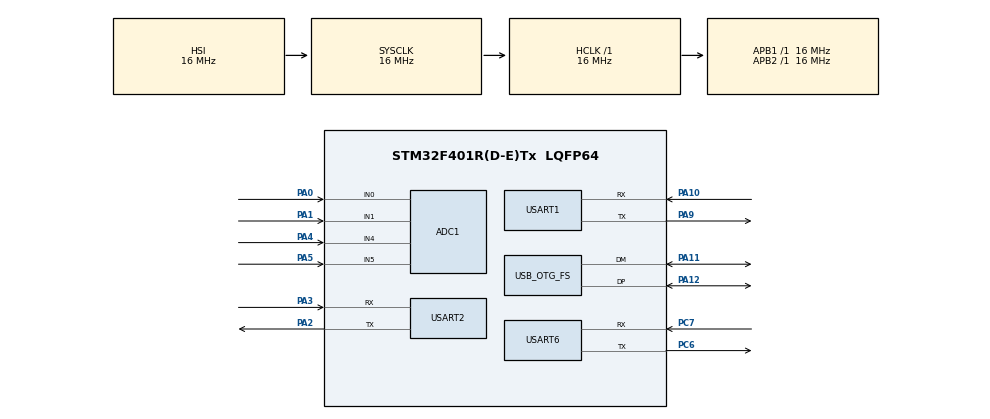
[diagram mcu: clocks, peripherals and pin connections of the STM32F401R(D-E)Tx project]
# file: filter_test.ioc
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ADC1.Channel-0\#ChannelRegularConversion=ADC_CHANNEL_0
ADC1.InjNumberOfConversion=0
ADC1.NbrOfConversionFlag=1
ADC1.Rank-0\#ChannelRegularConversion=1
ADC1.SamplingTime-0\#ChannelRegularConversion=ADC_SAMPLETIME_144CYCLES
ADC1.master=1
Dma.Request0=USART1_RX
Dma.Request1=USART2_RX
Dma.Request2=USART6_RX
Dma.Request3=USART2_TX
Dma.Request4=USART6_TX
Dma.Request5=USART1_TX
Dma.USART1_RX.0.Direction=DMA_PERIPH_TO_MEMORY
Dma.USART1_RX.0.FIFOMode=DMA_FIFOMODE_DISABLE
Dma.USART1_RX.0.Instance=DMA2_Stream2
Dma.USART1_RX.0.MemDataAlignment=DMA_MDATAALIGN_BYTE
Dma.USART1_RX.0.MemInc=DMA_MINC_ENABLE
Dma.USART1_RX.0.Mode=DMA_CIRCULAR
Dma.USART1_RX.0.PeriphDataAlignment=DMA_PDATAALIGN_BYTE
Dma.USART1_RX.0.PeriphInc=DMA_PINC_DISABLE
Dma.USART1_RX.0.Priority=DMA_PRIORITY_LOW
Dma.USART1_TX.5.Direction=DMA_MEMORY_TO_PERIPH
Dma.USART1_TX.5.FIFOMode=DMA_FIFOMODE_DISABLE
Dma.USART1_TX.5.Instance=DMA2_Stream7
Dma.USART1_TX.5.MemDataAlignment=DMA_MDATAALIGN_BYTE
Dma.USART1_TX.5.MemInc=DMA_MINC_ENABLE
Dma.USART1_TX.5.Mode=DMA_CIRCULAR
Dma.USART1_TX.5.PeriphDataAlignment=DMA_PDATAALIGN_BYTE
Dma.USART1_TX.5.PeriphInc=DMA_PINC_DISABLE
Dma.USART1_TX.5.Priority=DMA_PRIORITY_LOW
Dma.USART2_RX.1.Direction=DMA_PERIPH_TO_MEMORY
Dma.USART2_RX.1.FIFOMode=DMA_FIFOMODE_DISABLE
Dma.USART2_RX.1.Instance=DMA1_Stream5
Dma.USART2_RX.1.MemDataAlignment=DMA_MDATAALIGN_BYTE
Dma.USART2_RX.1.MemInc=DMA_MINC_ENABLE
Dma.USART2_RX.1.Mode=DMA_CIRCULAR
Dma.USART2_RX.1.PeriphDataAlignment=DMA_PDATAALIGN_BYTE
Dma.USART2_RX.1.PeriphInc=DMA_PINC_DISABLE
Dma.USART2_RX.1.Priority=DMA_PRIORITY_LOW
Dma.USART2_TX.3.Direction=DMA_MEMORY_TO_PERIPH
Dma.USART2_TX.3.FIFOMode=DMA_FIFOMODE_DISABLE
Dma.USART2_TX.3.Instance=DMA1_Stream6
Dma.USART2_TX.3.MemDataAlignment=DMA_MDATAALIGN_BYTE
Dma.USART2_TX.3.MemInc=DMA_MINC_ENABLE
Dma.USART2_TX.3.Mode=DMA_CIRCULAR
Dma.USART2_TX.3.PeriphDataAlignment=DMA_PDATAALIGN_BYTE
Dma.USART2_TX.3.PeriphInc=DMA_PINC_DISABLE
Dma.USART2_TX.3.Priority=DMA_PRIORITY_LOW
Dma.USART6_RX.2.Direction=DMA_PERIPH_TO_MEMORY
Dma.USART6_RX.2.FIFOMode=DMA_FIFOMODE_DISABLE
Dma.USART6_RX.2.Instance=DMA2_Stream1
Dma.USART6_RX.2.MemDataAlignment=DMA_MDATAALIGN_BYTE
Dma.USART6_RX.2.MemInc=DMA_MINC_ENABLE
Dma.USART6_RX.2.Mode=DMA_CIRCULAR
Dma.USART6_RX.2.PeriphDataAlignment=DMA_PDATAALIGN_BYTE
Dma.USART6_RX.2.PeriphInc=DMA_PINC_DISABLE
Dma.USART6_RX.2.Priority=DMA_PRIORITY_LOW
Dma.USART6_TX.4.Direction=DMA_MEMORY_TO_PERIPH
Dma.USART6_TX.4.FIFOMode=DMA_FIFOMODE_DISABLE
Dma.USART6_TX.4.Instance=DMA2_Stream6
Dma.USART6_TX.4.MemDataAlignment=DMA_MDATAALIGN_BYTE
Dma.USART6_TX.4.MemInc=DMA_MINC_ENABLE
Dma.USART6_TX.4.Mode=DMA_CIRCULAR
Dma.USART6_TX.4.PeriphDataAlignment=DMA_PDATAALIGN_BYTE
Dma.USART6_TX.4.PeriphInc=DMA_PINC_DISABLE
Dma.USART6_TX.4.Priority=DMA_PRIORITY_LOW
Mcu.Family=STM32F4
Mcu.Name=STM32F401R(D-E)Tx
Mcu.Package=LQFP64
NVIC.ADC_IRQn=true\:0\:0\:false\:true\:true\:1\:true\:true\:true
NVIC.DMA1_Stream5_IRQn=true\:0\:0\:false\:false\:true\:false\:true\:true
NVIC.DMA1_Stream6_IRQn=true\:0\:0\:false\:false\:true\:false\:true\:true
NVIC.DMA2_Stream1_IRQn=true\:0\:0\:false\:true\:true\:2\:false\:true\:true
NVIC.DMA2_Stream2_IRQn=true\:0\:0\:false\:true\:true\:3\:false\:true\:true
NVIC.DMA2_Stream6_IRQn=true\:0\:0\:false\:false\:true\:false\:true\:true
NVIC.DMA2_Stream7_IRQn=true\:0\:0\:false\:false\:true\:false\:true\:true
NVIC.OTG_FS_IRQn=true\:0\:0\:false\:false\:true\:false\:true\:true
NVIC.PriorityGroup=NVIC_PRIORITYGROUP_4
NVIC.TIM1_BRK_TIM9_IRQn=true\:0\:0\:false\:true\:true\:6\:true\:true\:true
NVIC.USART1_IRQn=true\:0\:0\:false\:true\:true\:4\:true\:true\:true
NVIC.USART2_IRQn=true\:0\:0\:false\:true\:true\:5\:true\:true\:true
NVIC.USART6_IRQn=true\:0\:0\:false\:true\:true\:7\:true\:true\:true
PA0-WKUP.Signal=ADCx_IN0
PA1.Signal=ADCx_IN1
PA10.Mode=Asynchronous
PA10.Signal=USART1_RX
PA11.Mode=Device_Only
PA11.Signal=USB_OTG_FS_DM
PA12.Mode=Device_Only
PA12.Signal=USB_OTG_FS_DP
PA13.Mode=Serial_Wire
PA13.Signal=SYS_JTMS-SWDIO
PA14.Mode=Serial_Wire
PA14.Signal=SYS_JTCK-SWCLK
PA2.Mode=Asynchronous
PA2.Signal=USART2_TX
PA3.Mode=Asynchronous
PA3.Signal=USART2_RX
PA4.Signal=ADCx_IN4
PA5.Signal=ADCx_IN5
PA9.Mode=Asynchronous
PA9.Signal=USART1_TX
PC6.Mode=Asynchronous
PC6.Signal=USART6_TX
PC7.Mode=Asynchronous
PC7.Signal=USART6_RX
ProjectManager.HeapSize=0x200
ProjectManager.StackSize=0x400
ProjectManager.TargetToolchain=STM32CubeIDE
RCC.AHBFreq_Value=16000000
RCC.APB1Freq_Value=16000000
RCC.APB2Freq_Value=16000000
RCC.CortexFreq_Value=16000000
RCC.HSE_VALUE=25000000
RCC.HSI_VALUE=16000000
RCC.LSE_VALUE=32768
RCC.PLLSource=RCC_PLLSOURCE_HSI
RCC.PLLSourceVirtualString=RCC_PLLSOURCE_HSI
RCC.SYSCLKFreq_VALUE=16000000
RCC.VCOOutputFreq_Value=192000000
SH.ADCx_IN0.0=ADC1_IN0,IN0
SH.ADCx_IN1.0=ADC1_IN1,IN1
SH.ADCx_IN4.0=ADC1_IN4,IN4
SH.ADCx_IN5.0=ADC1_IN5,IN5
TIM9.Period=100-1
TIM9.Prescaler=839
USART1.VirtualMode=VM_ASYNC
USART2.VirtualMode=VM_ASYNC
USART6.VirtualMode=VM_ASYNC
USB_DEVICE.CLASS_NAME_FS=CDC
USB_DEVICE.VirtualMode-CDC_FS=Cdc
USB_DEVICE.VirtualModeFS=Cdc_FS
USB_OTG_FS.VirtualMode=Device_Only
VP_TIM9_VS_ClockSourceINT.Mode=Internal
VP_USB_DEVICE_VS_USB_DEVICE_CDC_FS.Mode=CDC_FS
board=custom

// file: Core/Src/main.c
/* USER CODE BEGIN Header */
/**
  ******************************************************************************
  * @file           : main.c
  * @brief          : Main program body
  ******************************************************************************
  * @attention
  *
  * Copyright (c) 2024 STMicroelectronics.
  * All rights reserved.
  *
  * This software is licensed under terms that can be found in the LICENSE file
  * in the root directory of this software component.
  * If no LICENSE file comes with this software, it is provided AS-IS.
  *
  ******************************************************************************
  */
#include <stdio.h>
#include <stdbool.h>
#include <usbd_cdc_if.h>
/* USER CODE END Header */
#include "main.h"
#include "usb_device.h"

/* USER CODE BEGIN PD */
#define NUM_SENSORS 4
#define IMU_DATA_SIZE 50
#define PACKET_SIZE 154
/* USER CODE END PD */

ADC_HandleTypeDef hadc1;

TIM_HandleTypeDef htim9;

UART_HandleTypeDef huart1;
UART_HandleTypeDef huart2;
UART_HandleTypeDef huart6;
DMA_HandleTypeDef hdma_usart1_rx;
DMA_HandleTypeDef hdma_usart1_tx;
DMA_HandleTypeDef hdma_usart2_rx;
DMA_HandleTypeDef hdma_usart2_tx;
DMA_HandleTypeDef hdma_usart6_rx;
DMA_HandleTypeDef hdma_usart6_tx;

/* USER CODE BEGIN PV */
uint16_t sensorValues[NUM_SENSORS]; //압력센서값 저장
uint8_t packetBuffer[PACKET_SIZE];
//nt16_t pressureSensors[4];

//각 IMU값 저장
unsigned char IMU1array[IMU_DATA_SIZE] = {0};
unsigned char IMU2array[IMU_DATA_SIZE] = {0};

double alpha_value = 0.2;
double prevSensorValues[4] = {0};

double roll1 = 0.0, pitch1 = 0.0, yaw1 = 0.0;
double gyro_x1 = 0.0, gyro_y1 = 0.0, gyro_z1 = 0.0;
double accel_x1 = 0.0, accel_y1 = 0.0, accel_z1 = 0.0;
char alpha1[10] = {0}, beta1[10] = {0}, gamm1[10] = {0};
char gyro_x1_str[10] = {0}, gyro_y1_str[10] = {0}, gyro_z1_str[10] = {0};
char accel_x1_str[10] = {0}, accel_y1_str[10] = {0}, accel_z1_str[10] = {0};

double roll2 = 0.0, pitch2 = 0.0, yaw2 = 0.0;
double gyro_x2 = 0.0, gyro_y2 = 0.0, gyro_z2 = 0.0;
double accel_x2 = 0.0, accel_y2 = 0.0, accel_z2 = 0.0;
char alpha2[10] = {0}, beta2[10] = {0}, gamm2[10] = {0};
char gyro_x2_str[10] = {0}, gyro_y2_str[10] = {0}, gyro_z2_str[10] = {0};
char accel_x2_str[10] = {0}, accel_y2_str[10] = {0}, accel_z2_str[10] = {0};

double roll1_prev = 0, pitch1_prev = 0, yaw1_prev = 0;
double roll2_prev = 0, pitch2_prev = 0, yaw2_prev = 0;
double roll3_prev = 0, pitch3_prev = 0, yaw3_prev = 0;

double prevAccelX1 = 0, prevAccelX2 = 0, prevAccelX3 = 0;
double prevAccelY1 = 0, prevAccelY2 = 0, prevAccelY3 = 0;
double prevAccelZ1 = 0, prevAccelZ2 = 0, prevAccelZ3 = 0;

double prevGyroX1 = 0, prevGyroX2 = 0, prevGyroX3 = 0;
double prevGyroY1 = 0, prevGyroY2 = 0, prevGyroY3 = 0;
double prevGyroZ1 = 0, prevGyroZ2 = 0, prevGyroZ3 = 0;

/* USER CODE END PV */

void SystemClock_Config(void);
static void MX_GPIO_Init(void);
static void MX_DMA_Init(void);
static void MX_ADC1_Init(void);
static void MX_USART1_UART_Init(void);
static void MX_USART2_UART_Init(void);
static void MX_USART6_UART_Init(void);
static void MX_TIM9_Init(void);
static void MX_NVIC_Init(void);
/* USER CODE BEGIN PFP */
void get_IMU1(void);
void get_IMU2(void);
void Read_Pressure_Data(void);
double ApplyLowPassFilter(int16_t currentValue, double *prevValue);
void BuildPacket(void);
/* USER CODE END PFP */

int main(void)
{

  /* MCU Configuration--------------------------------------------------------*/

  /* Reset of all peripherals, Initializes the Flash interface and the Systick. */
  HAL_Init();

  /* Configure the system clock */
  SystemClock_Config();

  /* Initialize all configured peripherals */
  MX_GPIO_Init();
  MX_DMA_Init();
  MX_ADC1_Init();
  MX_USART1_UART_Init();
  MX_USART2_UART_Init();
  MX_USART6_UART_Init();
  MX_USB_DEVICE_Init();
  MX_TIM9_Init();

  /* Initialize interrupts */
  MX_NVIC_Init();
  /* USER CODE BEGIN 2 */
  HAL_TIM_Base_Start_IT(&htim9);

  /* USER CODE END 2 */

  /* Infinite loop */
  /* USER CODE BEGIN WHILE */
  while (1)
  {
	  Read_Pressure_Data();
	  get_IMU1();
	  get_IMU2();

	  //패킷화 하기
	  packetBuffer[0] = 0xAA;

      /* IMU1 Data */
      memcpy(packetBuffer + 1, &roll1, sizeof(roll1));
      memcpy(packetBuffer + 9, &pitch1, sizeof(pitch1));
      memcpy(packetBuffer + 17, &yaw1, sizeof(yaw1));
      memcpy(packetBuffer + 25, &gyro_x1, sizeof(gyro_x1));
      memcpy(packetBuffer + 33, &gyro_y1, sizeof(gyro_y1));
      memcpy(packetBuffer + 41, &gyro_z1, sizeof(gyro_z1));
      memcpy(packetBuffer + 49, &accel_x1, sizeof(accel_x1));
      memcpy(packetBuffer + 57, &accel_y1, sizeof(accel_y1));
      memcpy(packetBuffer + 65, &accel_z1, sizeof(accel_z1));

      /* IMU2 Data */
      memcpy(packetBuffer + 73, &roll2, sizeof(roll2));
      memcpy(packetBuffer + 81, &pitch2, sizeof(pitch2));
      memcpy(packetBuffer + 89, &yaw2, sizeof(yaw2));
      memcpy(packetBuffer + 97, &gyro_x2, sizeof(gyro_x2));
      memcpy(packetBuffer + 105, &gyro_y2, sizeof(gyro_y2));
      memcpy(packetBuffer + 113, &gyro_z2, sizeof(gyro_z2));
      memcpy(packetBuffer + 121, &accel_x2, sizeof(accel_x2));
      memcpy(packetBuffer + 129, &accel_y2, sizeof(accel_y2));
      memcpy(packetBuffer + 137, &accel_z2, sizeof(accel_z2));

      /* Pressure Sensor Data */
      for (int i = 0; i < NUM_SENSORS; i++) {
          packetBuffer[145 + i * 2] = (sensorValues[i] >> 8) & 0xFF; // 상위 바이트
          packetBuffer[146 + i * 2] = sensorValues[i] & 0xFF;        // 하위 바이트
      }

      /* End frame */
      packetBuffer[153] = 0xBB;

      /* Transmit data via USB CDC */
      if (CDC_Transmit_FS(packetBuffer, sizeof(packetBuffer)) == USBD_OK) {
         HAL_Delay(40);
      } else {
          HAL_Delay(10);
      }
    /* USER CODE END WHILE */

  }
}

void SystemClock_Config(void)
{
  RCC_OscInitTypeDef RCC_OscInitStruct = {0};
  RCC_ClkInitTypeDef RCC_ClkInitStruct = {0};

  /** Configure the main internal regulator output voltage
  */
  __HAL_RCC_PWR_CLK_ENABLE();
  __HAL_PWR_VOLTAGESCALING_CONFIG(PWR_REGULATOR_VOLTAGE_SCALE2);

  /** Initializes the RCC Oscillators according to the specified parameters
  * in the RCC_OscInitTypeDef structure.
  */
  RCC_OscInitStruct.OscillatorType = RCC_OSCILLATORTYPE_HSI;
  RCC_OscInitStruct.HSIState = RCC_HSI_ON;
  RCC_OscInitStruct.HSICalibrationValue = RCC_HSICALIBRATION_DEFAULT;
  RCC_OscInitStruct.PLL.PLLState = RCC_PLL_ON;
  RCC_OscInitStruct.PLL.PLLSource = RCC_PLLSOURCE_HSI;
  RCC_OscInitStruct.PLL.PLLM = 16;
  RCC_OscInitStruct.PLL.PLLN = 192;
  RCC_OscInitStruct.PLL.PLLP = RCC_PLLP_DIV2;
  RCC_OscInitStruct.PLL.PLLQ = 4;
  if (HAL_RCC_OscConfig(&RCC_OscInitStruct) != HAL_OK)
  {
    Error_Handler();
  }

  /** Initializes the CPU, AHB and APB buses clocks
  */
  RCC_ClkInitStruct.ClockType = RCC_CLOCKTYPE_HCLK|RCC_CLOCKTYPE_SYSCLK
                              |RCC_CLOCKTYPE_PCLK1|RCC_CLOCKTYPE_PCLK2;
  RCC_ClkInitStruct.SYSCLKSource = RCC_SYSCLKSOURCE_HSI;
  RCC_ClkInitStruct.AHBCLKDivider = RCC_SYSCLK_DIV1;
  RCC_ClkInitStruct.APB1CLKDivider = RCC_HCLK_DIV1;
  RCC_ClkInitStruct.APB2CLKDivider = RCC_HCLK_DIV1;

  if (HAL_RCC_ClockConfig(&RCC_ClkInitStruct, FLASH_LATENCY_0) != HAL_OK)
  {
    Error_Handler();
  }
}

/**
  * @brief NVIC Configuration.
  * @retval None
  */
static void MX_NVIC_Init(void)
{
  /* ADC_IRQn interrupt configuration */
  HAL_NVIC_SetPriority(ADC_IRQn, 0, 0);
  HAL_NVIC_EnableIRQ(ADC_IRQn);
  /* DMA2_Stream1_IRQn interrupt configuration */
  HAL_NVIC_SetPriority(DMA2_Stream1_IRQn, 0, 0);
  HAL_NVIC_EnableIRQ(DMA2_Stream1_IRQn);
  /* DMA2_Stream2_IRQn interrupt configuration */
  HAL_NVIC_SetPriority(DMA2_Stream2_IRQn, 0, 0);
  HAL_NVIC_EnableIRQ(DMA2_Stream2_IRQn);
  /* USART1_IRQn interrupt configuration */
  HAL_NVIC_SetPriority(USART1_IRQn, 0, 0);
  HAL_NVIC_EnableIRQ(USART1_IRQn);
  /* USART2_IRQn interrupt configuration */
  HAL_NVIC_SetPriority(USART2_IRQn, 0, 0);
  HAL_NVIC_EnableIRQ(USART2_IRQn);
  /* TIM1_BRK_TIM9_IRQn interrupt configuration */
  HAL_NVIC_SetPriority(TIM1_BRK_TIM9_IRQn, 0, 0);
  HAL_NVIC_EnableIRQ(TIM1_BRK_TIM9_IRQn);
  /* USART6_IRQn interrupt configuration */
  HAL_NVIC_SetPriority(USART6_IRQn, 0, 0);
  HAL_NVIC_EnableIRQ(USART6_IRQn);
}

static void MX_ADC1_Init(void)
{

  ADC_ChannelConfTypeDef sConfig = {0};

  /** Configure the global features of the ADC (Clock, Resolution, Data Alignment and number of conversion)
  */
  hadc1.Instance = ADC1;
  hadc1.Init.ClockPrescaler = ADC_CLOCK_SYNC_PCLK_DIV2;
  hadc1.Init.Resolution = ADC_RESOLUTION_12B;
  hadc1.Init.ScanConvMode = DISABLE;
  hadc1.Init.ContinuousConvMode = DISABLE;
  hadc1.Init.DiscontinuousConvMode = DISABLE;
  hadc1.Init.ExternalTrigConvEdge = ADC_EXTERNALTRIGCONVEDGE_NONE;
  hadc1.Init.ExternalTrigConv = ADC_SOFTWARE_START;
  hadc1.Init.DataAlign = ADC_DATAALIGN_RIGHT;
  hadc1.Init.NbrOfConversion = 1;
  hadc1.Init.DMAContinuousRequests = DISABLE;
  hadc1.Init.EOCSelection = ADC_EOC_SINGLE_CONV;
  if (HAL_ADC_Init(&hadc1) != HAL_OK)
  {
    Error_Handler();
  }

  /** Configure for the selected ADC regular channel its corresponding rank in the sequencer and its sample time.
  */
  sConfig.Channel = ADC_CHANNEL_0;
  sConfig.Rank = 1;
  sConfig.SamplingTime = ADC_SAMPLETIME_144CYCLES;
  if (HAL_ADC_ConfigChannel(&hadc1, &sConfig) != HAL_OK)
  {
    Error_Handler();
  }
  /* USER CODE BEGIN ADC1_Init 2 */
  for(int i=0;i < NUM_SENSORS; i++){
	  sConfig.Channel = ADC_CHANNEL_0 + i;
	  sConfig.Rank = i + 1;
	  sConfig.SamplingTime = ADC_SAMPLETIME_15CYCLES;
	  HAL_ADC_ConfigChannel(&hadc1, &sConfig);
  }
  /* USER CODE END ADC1_Init 2 */

}

static void MX_TIM9_Init(void)
{

  TIM_ClockConfigTypeDef sClockSourceConfig = {0};

  htim9.Instance = TIM9;
  htim9.Init.Prescaler = 839;
  htim9.Init.CounterMode = TIM_COUNTERMODE_UP;
  htim9.Init.Period = 100-1;
  htim9.Init.ClockDivision = TIM_CLOCKDIVISION_DIV1;
  htim9.Init.AutoReloadPreload = TIM_AUTORELOAD_PRELOAD_DISABLE;
  if (HAL_TIM_Base_Init(&htim9) != HAL_OK)
  {
    Error_Handler();
  }
  sClockSourceConfig.ClockSource = TIM_CLOCKSOURCE_INTERNAL;
  if (HAL_TIM_ConfigClockSource(&htim9, &sClockSourceConfig) != HAL_OK)
  {
    Error_Handler();
  }

}

static void MX_USART1_UART_Init(void)
{

  huart1.Instance = USART1;
  huart1.Init.BaudRate = 115200;
  huart1.Init.WordLength = UART_WORDLENGTH_8B;
  huart1.Init.StopBits = UART_STOPBITS_1;
  huart1.Init.Parity = UART_PARITY_NONE;
  huart1.Init.Mode = UART_MODE_TX_RX;
  huart1.Init.HwFlowCtl = UART_HWCONTROL_NONE;
  huart1.Init.OverSampling = UART_OVERSAMPLING_16;
  if (HAL_UART_Init(&huart1) != HAL_OK)
  {
    Error_Handler();
  }

}

static void MX_USART2_UART_Init(void)
{

  huart2.Instance = USART2;
  huart2.Init.BaudRate = 115200;
  huart2.Init.WordLength = UART_WORDLENGTH_8B;
  huart2.Init.StopBits = UART_STOPBITS_1;
  huart2.Init.Parity = UART_PARITY_NONE;
  huart2.Init.Mode = UART_MODE_TX_RX;
  huart2.Init.HwFlowCtl = UART_HWCONTROL_NONE;
  huart2.Init.OverSampling = UART_OVERSAMPLING_16;
  if (HAL_UART_Init(&huart2) != HAL_OK)
  {
    Error_Handler();
  }

}

static void MX_USART6_UART_Init(void)
{

  huart6.Instance = USART6;
  huart6.Init.BaudRate = 115200;
  huart6.Init.WordLength = UART_WORDLENGTH_8B;
  huart6.Init.StopBits = UART_STOPBITS_1;
  huart6.Init.Parity = UART_PARITY_NONE;
  huart6.Init.Mode = UART_MODE_TX_RX;
  huart6.Init.HwFlowCtl = UART_HWCONTROL_NONE;
  huart6.Init.OverSampling = UART_OVERSAMPLING_16;
  if (HAL_UART_Init(&huart6) != HAL_OK)
  {
    Error_Handler();
  }

}

static void MX_DMA_Init(void)
{

  /* DMA controller clock enable */
  __HAL_RCC_DMA2_CLK_ENABLE();
  __HAL_RCC_DMA1_CLK_ENABLE();

  /* DMA interrupt init */
  /* DMA1_Stream5_IRQn interrupt configuration */
  HAL_NVIC_SetPriority(DMA1_Stream5_IRQn, 0, 0);
  HAL_NVIC_EnableIRQ(DMA1_Stream5_IRQn);
  /* DMA1_Stream6_IRQn interrupt configuration */
  HAL_NVIC_SetPriority(DMA1_Stream6_IRQn, 0, 0);
  HAL_NVIC_EnableIRQ(DMA1_Stream6_IRQn);
  /* DMA2_Stream6_IRQn interrupt configuration */
  HAL_NVIC_SetPriority(DMA2_Stream6_IRQn, 0, 0);
  HAL_NVIC_EnableIRQ(DMA2_Stream6_IRQn);
  /* DMA2_Stream7_IRQn interrupt configuration */
  HAL_NVIC_SetPriority(DMA2_Stream7_IRQn, 0, 0);
  HAL_NVIC_EnableIRQ(DMA2_Stream7_IRQn);

}

static void MX_GPIO_Init(void)
{

  /* GPIO Ports Clock Enable */
  __HAL_RCC_GPIOA_CLK_ENABLE();
  __HAL_RCC_GPIOC_CLK_ENABLE();

}

/* USER CODE BEGIN 4 */
void Read_Pressure_Data(void) {
    ADC_ChannelConfTypeDef sConfig = {0};

    for (int i = 0; i < NUM_SENSORS; i++) {
        // ADC 채널을 각 센서 핀에 맞게 설정 (IN0, IN1, IN4, IN5)
        switch(i) {
            case 0: sConfig.Channel = ADC_CHANNEL_0; break; // IN0
            case 1: sConfig.Channel = ADC_CHANNEL_1; break; // IN1
            case 2: sConfig.Channel = ADC_CHANNEL_4; break; // IN4
            case 3: sConfig.Channel = ADC_CHANNEL_5; break; // IN5
        }

        sConfig.Rank = 1;
        sConfig.SamplingTime = ADC_SAMPLETIME_15CYCLES;
        if (HAL_ADC_ConfigChannel(&hadc1, &sConfig) != HAL_OK) {
            Error_Handler();
        }

        if (HAL_ADC_Start(&hadc1) == HAL_OK) {
            if (HAL_ADC_PollForConversion(&hadc1, HAL_MAX_DELAY) == HAL_OK) {

            	sensorValues[i] = HAL_ADC_GetValue(&hadc1);
            } else {
                Error_Handler();
            }
            HAL_ADC_Stop(&hadc1);
        } else {
            Error_Handler();
        }
    }
}

void get_IMU1()
{
    HAL_UART_Receive_DMA(&huart1, IMU1array, 50);  // 수신 데이터 크기 확장
    int cnt0 = 0, pos = 0;
    for (int i = 0; i < 50; i++) {
        if (IMU1array[i] == ',') {
            switch (cnt0++) {
                case 0: strncpy(alpha1, (char *)IMU1array + pos, i - pos); alpha1[i - pos] = '\0'; break;
                case 1: strncpy(beta1, (char *)IMU1array + pos, i - pos); beta1[i - pos] = '\0'; break;
                case 2: strncpy(gamm1, (char *)IMU1array + pos, i - pos); gamm1[i - pos] = '\0'; break;
                case 3: strncpy(gyro_x1_str, (char *)IMU1array + pos, i - pos); gyro_x1_str[i - pos] = '\0'; break;
                case 4: strncpy(gyro_y1_str, (char *)IMU1array + pos, i - pos); gyro_y1_str[i - pos] = '\0'; break;
                case 5: strncpy(gyro_z1_str, (char *)IMU1array + pos, i - pos); gyro_z1_str[i - pos] = '\0'; break;
                case 6: strncpy(accel_x1_str, (char *)IMU1array + pos, i - pos); accel_x1_str[i - pos] = '\0'; break;
                case 7: strncpy(accel_y1_str, (char *)IMU1array + pos, i - pos); accel_y1_str[i - pos] = '\0'; break;
                case 8: strncpy(accel_z1_str, (char *)IMU1array + pos, i - pos); accel_z1_str[i - pos] = '\0'; break;
            }
            pos = i + 1;
        }
    }
    roll1 = strtod(alpha1, NULL);
    pitch1 = strtod(beta1, NULL);
    yaw1 = strtod(gamm1, NULL);
    gyro_x1 = strtod(gyro_x1_str, NULL);
    gyro_y1 = strtod(gyro_y1_str, NULL);
    gyro_z1 = strtod(gyro_z1_str, NULL);
    accel_x1 = strtod(accel_x1_str, NULL);
    accel_y1 = strtod(accel_y1_str, NULL);
    accel_z1 = strtod(accel_z1_str, NULL);
}

void get_IMU2()
{
    HAL_UART_Receive_DMA(&huart6, IMU2array, 50);
    int cnt0 = 0, pos = 0;
    for (int i = 0; i < 50; i++) {
        if (IMU2array[i] == ',') {
            switch (cnt0++) {
                case 0: strncpy(alpha2, (char *)IMU2array + pos, i - pos); alpha2[i - pos] = '\0'; break;
                case 1: strncpy(beta2, (char *)IMU2array + pos, i - pos); beta2[i - pos] = '\0'; break;
                case 2: strncpy(gamm2, (char *)IMU2array + pos, i - pos); gamm2[i - pos] = '\0'; break;
                case 3: strncpy(gyro_x2_str, (char *)IMU2array + pos, i - pos); gyro_x2_str[i - pos] = '\0'; break;
                case 4: strncpy(gyro_y2_str, (char *)IMU2array + pos, i - pos); gyro_y2_str[i - pos] = '\0'; break;
                case 5: strncpy(gyro_z2_str, (char *)(char *)IMU2array + pos, i - pos); gyro_z2_str[i - pos] = '\0'; break;
                case 6: strncpy(accel_x2_str, (char *)IMU2array + pos, i - pos); accel_x2_str[i - pos] = '\0'; break;
                case 7: strncpy(accel_y2_str, (char *)IMU2array + pos, i - pos); accel_y2_str[i - pos] = '\0'; break;
                case 8: strncpy(accel_z2_str, (char *)IMU2array + pos, i - pos); accel_z2_str[i - pos] = '\0'; break;
            }
            pos = i + 1;
        }
    }
    roll2 = strtod(alpha2, NULL);
    pitch2 = strtod(beta2, NULL);
    yaw2 = strtod(gamm2, NULL);
    gyro_x2 = strtod(gyro_x2_str, NULL);
    gyro_y2 = strtod(gyro_y2_str, NULL);
    gyro_z2 = strtod(gyro_z2_str, NULL);
    accel_x2 = strtod(accel_x2_str, NULL);
    accel_y2 = strtod(accel_y2_str, NULL);
    accel_z2 = strtod(accel_z2_str, NULL);
}
double ApplyLowPassFilter(int16_t currentValue, double *prevValue){
	*prevValue = alpha_value * currentValue + (1.0 - alpha_value) * (*prevValue);
	return *prevValue;
}

/* USER CODE END 4 */

void Error_Handler(void)
{
  __disable_irq();
  while (1)
  {
  }
}
